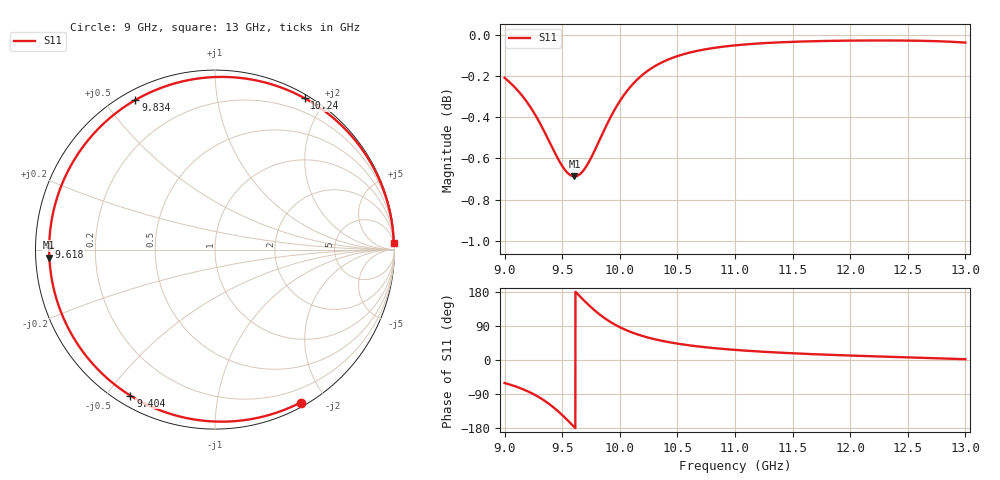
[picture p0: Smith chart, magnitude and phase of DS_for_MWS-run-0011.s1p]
! TOUCHSTONE file generated by CST DESIGN STUDIO
! Date and time: Tue Feb  4 14:25:41 2025
! Project name: C:\Work\MatlabApps\UnitCellOptimizationMatlab\CST\unitcell.cst
! Tree item: Tasks\Sweep1\SPara1\S-Parameters
! Header version: 2024
! Port assignment regex: !\s*Touchstone port\s*([0-9]+)\s*=\s*(CST MWS port|CST DES external port|CST DES block port)\s*(.+)\s* \(\"(.*)\"\)(\s*mode\s*([0-9]+))?.*
! Touchstone port assignment:
! Touchstone port 1 = CST DES external port 1 ("")
# GHz S MA R 50
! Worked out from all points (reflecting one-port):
!   4001 points, 9 GHz to 13 GHz, reference 50 ohm
!   lowest |S11| = -0.7 dB at 9.606 GHz (marker M1), VSWR 25.29, Z = 1.98 - j1.19 ohm
!   phase of S11 starts at -61 deg and turns -297 deg over the sweep
!   S11 on the Smith chart (normalised r, x): 9 GHz: 0.05, -1.70; 9.404 GHz: 0.04, -0.58; 9.618 GHz: 0.04, +0.01; 9.834 GHz: 0.04, +0.60; 10.24 GHz: 0.04, +1.76; 13 GHz: 6, +52
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9  0.9763 -60.8
9.055  0.9733 -65.7
9.127  0.9685 -73.3
9.19  0.9635 -81.1
9.251  0.9578 -90.1
9.333  0.9488 -104.7
9.404  0.9401 -120.1
9.452  0.9344 -132.0
9.5  0.9293 -145.2
9.555  0.9253 -161.5
9.606  0.9239 -177.3
9.618  0.924 179.0
9.673  0.9262 161.9
9.734  0.9317 143.9
9.784  0.9377 130.3
9.834  0.9442 118.0
9.91  0.9539 101.9
10  0.9637 86.6
10.116  0.9731 71.5
10.244  0.9803 59.3
10.363  0.9847 50.8
10.5  0.9883 43.2
10.72  0.9918 34.4
11  0.9942 26.7
11.5  0.9962 17.7
12  0.9969 11.8
12.5  0.9969 6.9
13  0.9958 2.2
